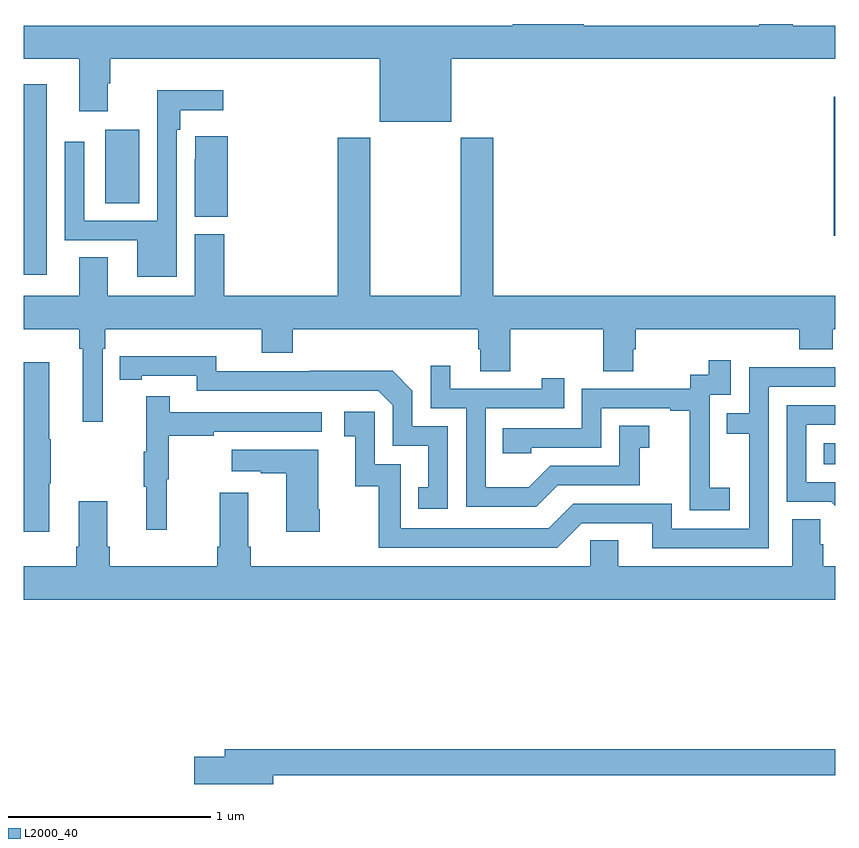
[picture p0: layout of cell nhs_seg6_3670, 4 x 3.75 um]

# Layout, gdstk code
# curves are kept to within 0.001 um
import gdstk
lib = gdstk.Library(unit=1e-6, precision=1e-09)
def R(c, l, rs):  # rectangles x0, y0, x1, y1
    for r in rs: c.add(gdstk.rectangle(r[:2], r[2:], *l))
def P(c, l, *ps):  # polygons
    for p in ps: c.add(gdstk.Polygon(p, *l))
L2000_40 = (2000, 40)

nhs_seg6_3670 = lib.new_cell('nhs_seg6_3670')
R(nhs_seg6_3670, L2000_40, [(328.942,953.33,329,953.434), (325,954.264,325.114,955.204), (328.993,954.456,329,955.141), (325.403,954.616,325.57,954.979)])
P(nhs_seg6_3670, L2000_40, [(327.106,955.328),(329,955.328),(329,955.492),(328.79,955.492),(328.79,955.5),(328.625,955.5),(328.625,955.492),(327.76,955.492),(327.76,955.5),(327.41,955.5),(327.41,955.492),(325,955.492),(325,955.328),(325.274,955.328),(325.274,955.071),(325.414,955.071),(325.414,955.208),(325.427,955.208),(325.427,955.328),(326.756,955.328),(326.756,955.019),(327.106,955.019)],
  [(325.755,954.98),(325.771,954.98),(325.771,955.076),(325.984,955.076),(325.984,955.174),(325.659,955.174),(325.659,954.531),(325.299,954.531),(325.299,954.919),(325.203,954.919),(325.203,954.435),(325.559,954.435),(325.559,954.254),(325.755,954.254)],
  [(326.006,954.946),(325.845,954.946),(325.845,954.833),(325.844,954.833),(325.844,954.55),(326.006,954.55)],
  [(325.389,953.9),(325.403,953.9),(325.403,953.996),(326.174,953.996),(326.174,953.879),(326.327,953.879),(326.327,953.996),(327.239,953.996),(327.239,953.898),(327.251,953.898),(327.251,953.788),(327.399,953.788),(327.399,953.996),(327.856,953.996),(327.856,953.788),(328.003,953.788),(328.003,953.898),(328.016,953.898),(328.016,953.996),(328.823,953.996),(328.823,953.897),(328.988,953.897),(328.988,953.996),(329,953.996),(329,954.16),(327.314,954.16),(327.314,954.94),(327.154,954.94),(327.154,954.16),(326.709,954.16),(326.709,954.94),(326.549,954.94),(326.549,954.16),(325.988,954.16),(325.988,954.465),(325.844,954.465),(325.844,954.16),(325.414,954.16),(325.414,954.35),(325.274,954.35),(325.274,954.16),(325,954.16),(325,953.996),(325.273,953.996),(325.273,953.9),(325.292,953.9),(325.292,953.541),(325.389,953.541)],
  [(327.09,953.517),(326.916,953.517),(326.916,953.694),(326.818,953.792),(326.41,953.792),(326.41,953.79),(325.95,953.79),(325.95,953.863),(325.474,953.862),(325.474,953.746),(325.582,953.746),(325.582,953.766),(325.854,953.766),(325.854,953.694),(326.748,953.694),(326.82,953.622),(326.82,953.421),(326.993,953.421),(326.993,953.217),(326.944,953.217),(326.944,953.112),(327.09,953.112)],
  [(328.48,953.215),(328.382,953.215),(328.382,953.444),(328.38,953.444),(328.38,953.673),(328.485,953.673),(328.485,953.842),(328.377,953.842),(328.377,953.772),(328.284,953.772),(328.284,953.703),(327.75,953.703),(327.75,953.508),(327.361,953.508),(327.361,953.385),(327.501,953.385),(327.501,953.412),(327.846,953.412),(327.846,953.607),(328.187,953.607),(328.187,953.595),(328.283,953.595),(328.283,953.311),(328.282,953.311),(328.282,953.105),(328.48,953.105)],
  [(325.126,953.236),(325.134,953.236),(325.134,953.453),(325.126,953.453),(325.126,953.833),(325,953.833),(325,952.998),(325.126,952.998)],
  [(327.631,953.226),(328.035,953.226),(328.035,953.411),(328.084,953.411),(328.084,953.521),(327.936,953.521),(327.936,953.322),(327.594,953.322),(327.49,953.218),(327.276,953.218),(327.276,953.607),(327.665,953.607),(327.665,953.755),(327.554,953.755),(327.554,953.703),(327.103,953.703),(327.103,953.815),(327.006,953.815),(327.006,953.607),(327.18,953.607),(327.18,953.121),(327.526,953.121)],
  [(328.671,953.712),(329,953.712),(329,953.808),(328.575,953.808),(328.575,953.583),(328.465,953.583),(328.465,953.482),(328.575,953.482),(328.575,953.013),(328.194,953.013),(328.194,953.136),(327.708,953.136),(327.588,953.016),(326.859,953.016),(326.859,953.331),(326.73,953.331),(326.73,953.59),(326.58,953.59),(326.58,953.469),(326.633,953.469),(326.633,953.223),(326.751,953.223),(326.751,952.92),(327.63,952.92),(327.75,953.04),(328.097,953.04),(328.097,952.917),(328.671,952.917)],
  [(325.706,953.256),(325.714,953.256),(325.714,953.47),(325.937,953.47),(325.937,953.49),(326.47,953.49),(326.47,953.586),(325.721,953.586),(325.721,953.665),(325.604,953.665),(325.604,953.393),(325.593,953.393),(325.593,953.219),(325.604,953.219),(325.604,953.007),(325.706,953.007)],
  [(329,953.241),(328.857,953.241),(328.857,953.526),(329,953.526),(329,953.622),(328.761,953.622),(328.761,953.145),(328.98,953.145),(329,953.125)],
  [(326.46,953.11),(326.452,953.11),(326.452,953.401),(326.025,953.401),(326.025,953.297),(326.168,953.297),(326.168,953.287),(326.294,953.287),(326.294,952.998),(326.46,952.998)],
  [(325.411,952.924),(325.411,953.149),(325.271,953.149),(325.271,952.924),(325.259,952.924),(325.259,952.828),(325,952.828),(325,952.664),(329,952.664),(329,952.828),(328.94,952.828),(328.94,952.937),(328.926,952.937),(328.926,953.06),(328.787,953.06),(328.787,952.828),(327.931,952.828),(327.931,952.955),(327.792,952.955),(327.792,952.828),(326.12,952.828),(326.12,952.924),(326.107,952.924),(326.107,953.191),(325.967,953.191),(325.967,952.924),(325.955,952.924),(325.955,952.828),(325.424,952.828),(325.424,952.924)],
  [(326.23,951.798),(329,951.798),(329,951.926),(325.991,951.926),(325.991,951.89),(325.842,951.89),(325.842,951.755),(326.23,951.755)])

lib.write_gds('nhs_seg6_3670.gds')
